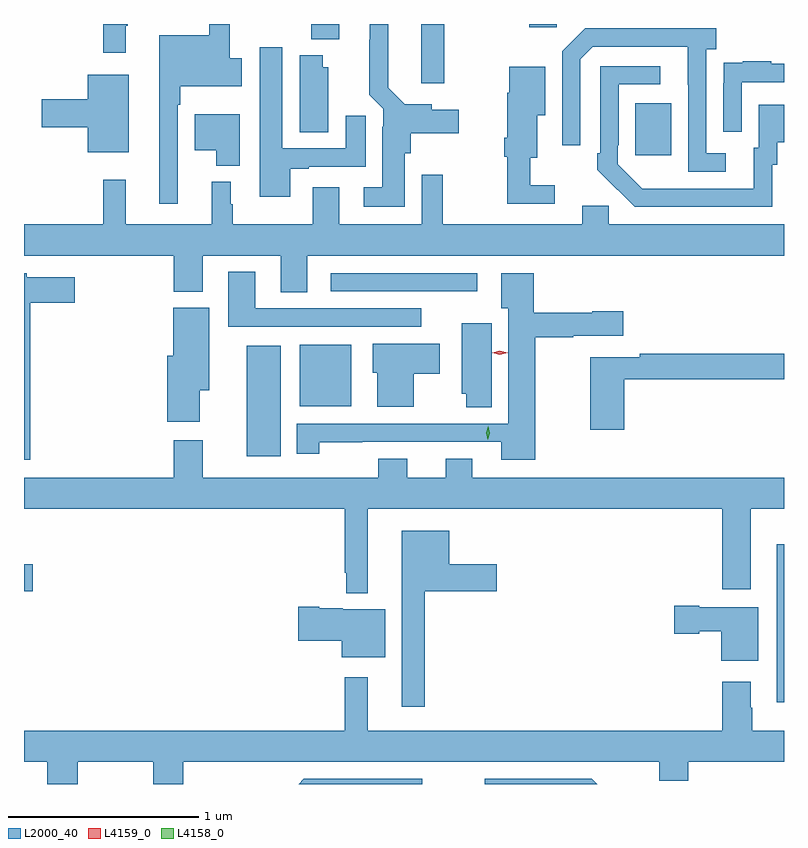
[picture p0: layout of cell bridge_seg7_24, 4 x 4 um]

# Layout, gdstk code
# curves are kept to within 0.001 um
import gdstk
lib = gdstk.Library(unit=1e-6, precision=1e-09)
def R(c, l, rs):  # rectangles x0, y0, x1, y1
    for r in rs: c.add(gdstk.rectangle(r[:2], r[2:], *l))
def P(c, l, *ps):  # polygons
    for p in ps: c.add(gdstk.Polygon(p, *l))
L2000_40 = (2000, 40)
L4158_0 = (4158, 0)
L4159_0 = (4159, 0)

bridge_seg7_24 = lib.new_cell('bridge_seg7_24')
R(bridge_seg7_24, L2000_40, [(1048.103,1046.217,1048.141,1047.05), (1044.141,1046.801,1044.187,1046.943), (1045.313,1047.512,1045.492,1048.093), (1045.592,1047.776,1045.864,1048.099), (1045.755,1048.38,1046.527,1048.476), (1047.359,1049.097,1047.547,1049.371), (1046.231,1049.475,1046.353,1049.787), (1045.654,1049.708,1045.801,1049.787), (1046.8,1049.769,1046.946,1049.787)])
P(bridge_seg7_24, L2000_40, [(1044.951,1049.363),(1044.964,1049.363),(1044.964,1049.459),(1045.288,1049.459),(1045.288,1049.607),(1045.225,1049.607),(1045.225,1049.787),(1045.116,1049.787),(1045.116,1049.728),(1044.854,1049.728),(1044.854,1048.842),(1044.951,1048.842)],
  [(1046.146,1049.106),(1046.177,1049.106),(1046.177,1049.213),(1046.43,1049.213),(1046.43,1049.335),(1046.287,1049.335),(1046.287,1049.365),(1046.145,1049.365),(1046.059,1049.452),(1046.059,1049.787),(1045.961,1049.787),(1045.961,1049.705),(1045.957,1049.705),(1045.957,1049.414),(1046.031,1049.34),(1046.031,1049.246),(1046.027,1049.246),(1046.027,1048.927),(1045.929,1048.927),(1045.929,1048.826),(1046.146,1048.826)],
  [(1044.676,1049.777),(1044.688,1049.777),(1044.688,1049.787),(1044.559,1049.787),(1044.559,1049.637),(1044.676,1049.637)],
  [(1047.835,1049.106),(1047.732,1049.106),(1047.732,1049.654),(1047.784,1049.654),(1047.784,1049.764),(1047.094,1049.764),(1046.973,1049.643),(1046.973,1049.148),(1047.069,1049.148),(1047.069,1049.601),(1047.135,1049.667),(1047.635,1049.667),(1047.636,1049.01),(1047.835,1049.01)],
  [(1045.543,1049.025),(1045.639,1049.025),(1045.639,1049.037),(1045.939,1049.037),(1045.939,1049.305),(1045.835,1049.305),(1045.835,1049.133),(1045.501,1049.133),(1045.501,1049.665),(1045.382,1049.665),(1045.382,1048.878),(1045.543,1048.878)],
  [(1045.741,1049.559),(1045.714,1049.559),(1045.714,1049.623),(1045.592,1049.623),(1045.592,1049.218),(1045.741,1049.218)],
  [(1047.918,1049.481),(1048.141,1049.481),(1048.141,1049.577),(1048.073,1049.577),(1048.073,1049.59),(1047.925,1049.59),(1047.925,1049.583),(1047.823,1049.583),(1047.823,1049.474),(1047.822,1049.474),(1047.822,1049.22),(1047.918,1049.22)],
  [(1048.08,1049.046),(1048.105,1049.046),(1048.105,1049.165),(1048.141,1049.165),(1048.141,1049.362),(1048.007,1049.362),(1048.007,1049.136),(1047.983,1049.136),(1047.983,1048.92),(1047.396,1048.921),(1047.267,1049.049),(1047.267,1049.149),(1047.27,1049.149),(1047.27,1049.469),(1047.49,1049.469),(1047.49,1049.565),(1047.174,1049.565),(1047.174,1049.107),(1047.159,1049.107),(1047.159,1049.019),(1047.356,1048.824),(1048.08,1048.824)],
  [(1046.935,1048.939),(1046.805,1048.939),(1046.805,1049.084),(1046.842,1049.084),(1046.842,1049.306),(1046.884,1049.306),(1046.884,1049.563),(1046.696,1049.563),(1046.696,1049.424),(1046.684,1049.424),(1046.684,1049.188),(1046.669,1049.188),(1046.669,1049.088),(1046.685,1049.088),(1046.685,1048.842),(1046.935,1048.842)],
  [(1044.691,1049.521),(1044.476,1049.521),(1044.476,1049.39),(1044.234,1049.39),(1044.234,1049.243),(1044.476,1049.243),(1044.476,1049.111),(1044.691,1049.111)],
  [(1045.276,1049.311),(1045.04,1049.311),(1045.04,1049.123),(1045.154,1049.123),(1045.154,1049.042),(1045.276,1049.042)],
  [(1045.633,1048.568),(1048.141,1048.568),(1048.141,1048.732),(1047.219,1048.732),(1047.219,1048.83),(1047.08,1048.83),(1047.08,1048.732),(1046.344,1048.732),(1046.344,1048.993),(1046.235,1048.993),(1046.235,1048.732),(1045.801,1048.732),(1045.801,1048.927),(1045.661,1048.927),(1045.661,1048.732),(1045.24,1048.732),(1045.24,1048.839),(1045.228,1048.839),(1045.228,1048.957),(1045.13,1048.957),(1045.13,1048.732),(1044.677,1048.732),(1044.677,1048.966),(1044.559,1048.966),(1044.559,1048.732),(1044.141,1048.732),(1044.141,1048.568),(1044.929,1048.568),(1044.929,1048.379),(1045.081,1048.379),(1045.081,1048.568),(1045.493,1048.568),(1045.493,1048.375),(1045.633,1048.375)],
  [(1046.233,1048.29),(1045.357,1048.29),(1045.357,1048.483),(1045.217,1048.483),(1045.217,1048.194),(1046.233,1048.194)],
  [(1044.173,1048.319),(1044.409,1048.319),(1044.409,1048.453),(1044.156,1048.453),(1044.156,1048.474),(1044.141,1048.474),(1044.141,1047.494),(1044.173,1047.494)],
  [(1046.832,1048.138),(1047.032,1048.138),(1047.032,1048.145),(1047.295,1048.145),(1047.295,1048.275),(1047.132,1048.275),(1047.132,1048.267),(1046.824,1048.267),(1046.824,1048.474),(1046.654,1048.474),(1046.654,1048.292),(1046.69,1048.292),(1046.69,1047.684),(1045.577,1047.684),(1045.577,1047.525),(1045.695,1047.525),(1045.695,1047.587),(1045.922,1047.587),(1045.922,1047.588),(1046.654,1047.588),(1046.654,1047.494),(1046.832,1047.494)],
  [(1045.066,1047.86),(1045.117,1047.86),(1045.117,1048.294),(1044.926,1048.294),(1044.926,1048.041),(1044.896,1048.041),(1044.896,1047.693),(1045.066,1047.693)],
  [(1046.602,1048.213),(1046.444,1048.213),(1046.444,1047.84),(1046.468,1047.84),(1046.468,1047.769),(1046.602,1047.769)],
  [(1046.191,1047.947),(1046.329,1047.947),(1046.329,1048.105),(1045.976,1048.105),(1045.976,1047.951),(1046,1047.951),(1046,1047.773),(1046.191,1047.773)],
  [(1047.299,1047.916),(1048.141,1047.916),(1048.141,1048.052),(1047.382,1048.052),(1047.382,1048.032),(1047.121,1048.032),(1047.121,1047.651),(1047.299,1047.651)],
  [(1045.951,1047.236),(1047.815,1047.236),(1047.815,1046.811),(1047.967,1046.811),(1047.967,1047.236),(1048.141,1047.236),(1048.141,1047.4),(1046.5,1047.4),(1046.5,1047.499),(1046.36,1047.499),(1046.36,1047.4),(1046.158,1047.4),(1046.158,1047.499),(1046.006,1047.499),(1046.006,1047.4),(1045.081,1047.4),(1045.081,1047.595),(1044.929,1047.595),(1044.929,1047.4),(1044.141,1047.4),(1044.141,1047.236),(1045.83,1047.236),(1045.83,1046.899),(1045.837,1046.899),(1045.837,1046.792),(1045.951,1046.792)],
  [(1046.251,1046.801),(1046.629,1046.801),(1046.629,1046.943),(1046.38,1046.943),(1046.38,1047.121),(1046.129,1047.121),(1046.129,1046.193),(1046.251,1046.193)],
  [(1048.006,1046.716),(1047.696,1046.716),(1047.696,1046.726),(1047.564,1046.726),(1047.564,1046.579),(1047.696,1046.579),(1047.696,1046.591),(1047.812,1046.591),(1047.812,1046.435),(1048.006,1046.435)],
  [(1046.041,1046.707),(1045.818,1046.707),(1045.818,1046.713),(1045.696,1046.713),(1045.696,1046.72),(1045.584,1046.72),(1045.584,1046.542),(1045.814,1046.542),(1045.814,1046.453),(1046.041,1046.453)],
  [(1044.423,1045.904),(1044.82,1045.904),(1044.82,1045.787),(1044.98,1045.787),(1044.98,1045.904),(1047.485,1045.904),(1047.485,1045.805),(1047.638,1045.805),(1047.638,1045.904),(1048.141,1045.904),(1048.141,1046.068),(1047.975,1046.068),(1047.975,1046.189),(1047.967,1046.189),(1047.967,1046.326),(1047.815,1046.326),(1047.815,1046.068),(1045.951,1046.068),(1045.951,1046.35),(1045.83,1046.35),(1045.83,1046.068),(1044.141,1046.068),(1044.141,1045.904),(1044.263,1045.904),(1044.263,1045.787),(1044.423,1045.787)],
  [(1047.129,1045.815),(1046.565,1045.815),(1046.565,1045.787),(1047.157,1045.787)],
  [(1046.236,1045.815),(1045.614,1045.815),(1045.586,1045.787),(1046.236,1045.787)])
P(bridge_seg7_24, L4158_0, [(1046.582,1047.599),(1046.582,1047.599),(1046.573,1047.635),(1046.584,1047.671),(1046.585,1047.671),(1046.585,1047.671),(1046.593,1047.634),(1046.582,1047.599)])
P(bridge_seg7_24, L4159_0, [(1046.646,1048.046),(1046.605,1048.056),(1046.605,1048.056),(1046.605,1048.056),(1046.646,1048.066),(1046.687,1048.057),(1046.687,1048.057),(1046.687,1048.057)])

lib.write_gds('bridge_seg7_24.gds')
